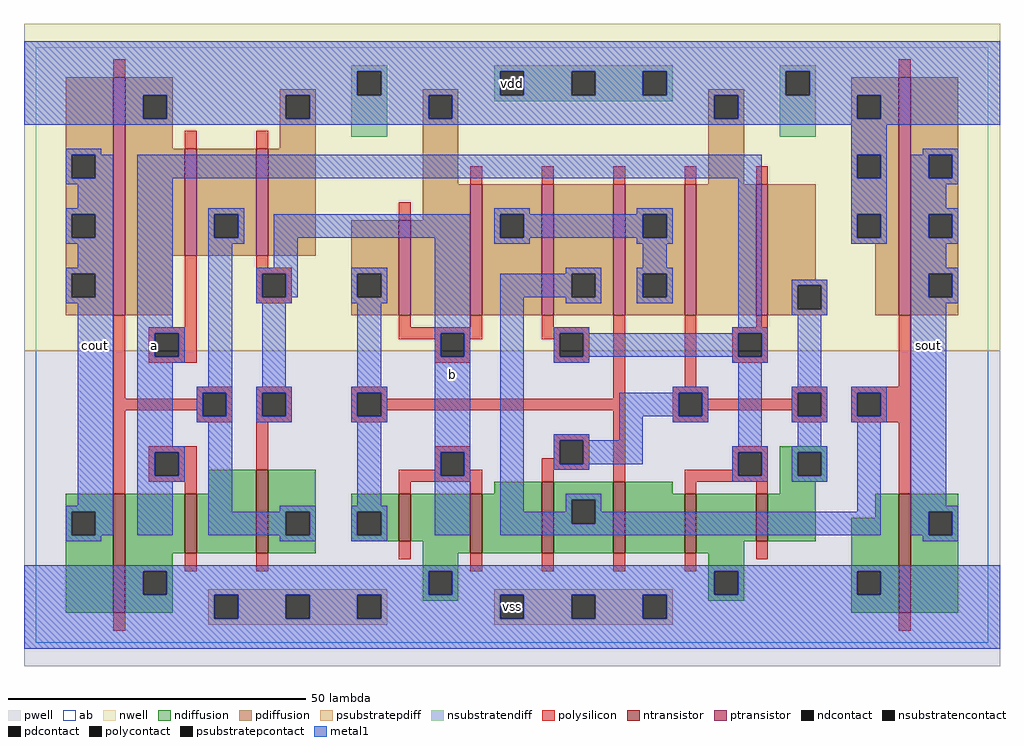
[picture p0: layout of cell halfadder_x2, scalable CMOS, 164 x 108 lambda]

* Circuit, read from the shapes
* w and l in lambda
.subckt halfadder_x2 a b cout sout vdd vss
M1 vss n1 cout vss nfet w=20 l=2
M2 n2 a vss vss nfet w=10 l=2
M3 n1 b n2 vss nfet w=14 l=2
M4 vss b n3 vss nfet w=8 l=2
M5 n4 b vss vss nfet w=10 l=2
M6 n5 n6 n4 vss nfet w=12 l=2
M7 n7 n3 n5 vss nfet w=12 l=2
M8 vss a n7 vss nfet w=10 l=2
M9 n6 a vss vss nfet w=8 l=2
M10 sout n5 vss vss nfet w=20 l=2
M11 vdd n1 cout vdd pfet w=40 l=2
M12 n1 a vdd vdd pfet w=18 l=2
M13 vdd b n1 vdd pfet w=18 l=2
M14 vdd b n3 vdd pfet w=16 l=2
M15 n8 b vdd vdd pfet w=22 l=2
M16 n5 a n8 vdd pfet w=22 l=2
M17 n8 n3 n5 vdd pfet w=22 l=2
M18 vdd n6 n8 vdd pfet w=22 l=2
M19 n6 a vdd vdd pfet w=22 l=2
M20 sout n5 vdd vdd pfet w=40 l=2
.ends

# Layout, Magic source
magic
tech scmos
<< ab >>
rect 0 0 160 100
<< pwell >>
rect -2 -4 162 49
<< nwell >>
rect -2 49 162 104
<< polysilicon >>
rect 13 95 15 98
rect 25 83 27 86
rect 37 83 39 86
rect 73 77 75 80
rect 85 77 87 80
rect 97 77 99 80
rect 109 77 111 80
rect 145 95 147 98
rect 121 77 123 80
rect 61 71 63 74
rect 13 41 15 55
rect 25 53 27 65
rect 37 63 39 65
rect 37 62 43 63
rect 37 58 38 62
rect 42 58 43 62
rect 37 57 43 58
rect 19 52 27 53
rect 19 48 20 52
rect 24 48 27 52
rect 61 53 63 55
rect 73 53 75 55
rect 61 52 75 53
rect 61 51 68 52
rect 19 47 27 48
rect 67 48 68 51
rect 72 51 75 52
rect 85 53 87 55
rect 85 52 93 53
rect 85 51 88 52
rect 72 48 73 51
rect 67 47 73 48
rect 87 48 88 51
rect 92 48 93 52
rect 87 47 93 48
rect 27 42 33 43
rect 27 41 28 42
rect 13 39 28 41
rect 13 25 15 39
rect 27 38 28 39
rect 32 38 33 42
rect 27 37 33 38
rect 37 42 43 43
rect 37 38 38 42
rect 42 38 43 42
rect 37 37 43 38
rect 53 42 59 43
rect 53 38 54 42
rect 58 41 59 42
rect 97 41 99 55
rect 109 43 111 55
rect 121 53 123 55
rect 117 52 123 53
rect 117 48 118 52
rect 122 48 123 52
rect 117 47 123 48
rect 145 43 147 55
rect 58 39 99 41
rect 58 38 59 39
rect 53 37 59 38
rect 19 32 27 33
rect 19 28 20 32
rect 24 28 27 32
rect 37 29 39 37
rect 87 34 93 35
rect 67 32 73 33
rect 67 29 68 32
rect 19 27 27 28
rect 25 25 27 27
rect 61 28 68 29
rect 72 29 73 32
rect 87 31 88 34
rect 85 30 88 31
rect 92 30 93 34
rect 85 29 93 30
rect 72 28 75 29
rect 61 27 75 28
rect 85 27 87 29
rect 97 27 99 39
rect 107 42 113 43
rect 107 38 108 42
rect 112 41 113 42
rect 127 42 133 43
rect 127 41 128 42
rect 112 39 128 41
rect 112 38 113 39
rect 107 37 113 38
rect 127 38 128 39
rect 132 38 133 42
rect 127 37 133 38
rect 137 42 147 43
rect 137 38 138 42
rect 142 38 147 42
rect 137 37 147 38
rect 117 32 123 33
rect 117 29 118 32
rect 109 28 118 29
rect 122 28 123 32
rect 109 27 123 28
rect 61 25 63 27
rect 73 25 75 27
rect 25 12 27 15
rect 37 12 39 15
rect 61 14 63 17
rect 109 25 111 27
rect 121 25 123 27
rect 145 25 147 37
rect 73 12 75 15
rect 85 12 87 15
rect 97 12 99 15
rect 109 12 111 15
rect 121 14 123 17
rect 13 2 15 5
rect 145 2 147 5
<< ndiffusion >>
rect 29 25 37 29
rect 5 22 13 25
rect 5 18 6 22
rect 10 18 13 22
rect 5 5 13 18
rect 15 15 25 25
rect 27 15 37 25
rect 39 22 47 29
rect 77 25 85 27
rect 39 18 42 22
rect 46 18 47 22
rect 39 15 47 18
rect 53 22 61 25
rect 53 18 54 22
rect 58 18 61 22
rect 53 17 61 18
rect 63 17 73 25
rect 15 12 23 15
rect 65 15 73 17
rect 75 15 85 25
rect 87 24 97 27
rect 87 20 90 24
rect 94 20 97 24
rect 87 15 97 20
rect 99 25 107 27
rect 125 32 133 33
rect 125 28 128 32
rect 132 28 133 32
rect 125 27 133 28
rect 125 25 131 27
rect 99 15 109 25
rect 111 17 121 25
rect 123 17 131 25
rect 141 21 145 25
rect 111 15 119 17
rect 65 12 71 15
rect 113 12 119 15
rect 15 8 18 12
rect 22 8 23 12
rect 15 5 23 8
rect 65 8 66 12
rect 70 8 71 12
rect 65 7 71 8
rect 113 8 114 12
rect 118 8 119 12
rect 113 7 119 8
rect 137 12 145 21
rect 137 8 138 12
rect 142 8 145 12
rect 137 5 145 8
rect 147 22 155 25
rect 147 18 150 22
rect 154 18 155 22
rect 147 5 155 18
<< pdiffusion >>
rect 5 82 13 95
rect 5 78 6 82
rect 10 78 13 82
rect 5 72 13 78
rect 5 68 6 72
rect 10 68 13 72
rect 5 62 13 68
rect 5 58 6 62
rect 10 58 13 62
rect 5 55 13 58
rect 15 92 23 95
rect 15 88 18 92
rect 22 88 23 92
rect 15 83 23 88
rect 41 92 47 93
rect 41 88 42 92
rect 46 88 47 92
rect 41 83 47 88
rect 65 92 71 93
rect 65 88 66 92
rect 70 88 71 92
rect 113 92 119 93
rect 15 65 25 83
rect 27 72 37 83
rect 27 68 30 72
rect 34 68 37 72
rect 27 65 37 68
rect 39 65 47 83
rect 65 77 71 88
rect 113 88 114 92
rect 118 88 119 92
rect 113 77 119 88
rect 137 92 145 95
rect 137 88 138 92
rect 142 88 145 92
rect 137 82 145 88
rect 137 78 138 82
rect 142 78 145 82
rect 65 71 73 77
rect 15 55 23 65
rect 53 62 61 71
rect 53 58 54 62
rect 58 58 61 62
rect 53 55 61 58
rect 63 55 73 71
rect 75 72 85 77
rect 75 68 78 72
rect 82 68 85 72
rect 75 55 85 68
rect 87 62 97 77
rect 87 58 90 62
rect 94 58 97 62
rect 87 55 97 58
rect 99 72 109 77
rect 99 68 102 72
rect 106 68 109 72
rect 99 62 109 68
rect 99 58 102 62
rect 106 58 109 62
rect 99 55 109 58
rect 111 55 121 77
rect 123 61 131 77
rect 137 72 145 78
rect 137 68 138 72
rect 142 68 145 72
rect 137 67 145 68
rect 123 60 133 61
rect 123 56 128 60
rect 132 56 133 60
rect 123 55 133 56
rect 141 55 145 67
rect 147 82 155 95
rect 147 78 150 82
rect 154 78 155 82
rect 147 72 155 78
rect 147 68 150 72
rect 154 68 155 72
rect 147 62 155 68
rect 147 58 150 62
rect 154 58 155 62
rect 147 55 155 58
<< metal1 >>
rect -2 96 162 101
rect -2 92 54 96
rect 58 92 78 96
rect 82 92 90 96
rect 94 92 102 96
rect 106 92 126 96
rect 130 92 162 96
rect -2 88 18 92
rect 22 88 42 92
rect 46 88 66 92
rect 70 88 114 92
rect 118 88 138 92
rect 142 88 162 92
rect -2 87 162 88
rect 5 82 11 83
rect 137 82 143 87
rect 149 82 155 83
rect 5 78 6 82
rect 10 78 13 82
rect 5 77 13 78
rect 7 73 13 77
rect 5 72 13 73
rect 5 68 6 72
rect 10 68 13 72
rect 5 67 13 68
rect 7 63 13 67
rect 5 62 13 63
rect 5 58 6 62
rect 10 58 13 62
rect 5 57 13 58
rect 7 23 13 57
rect 5 22 13 23
rect 5 18 6 22
rect 10 18 13 22
rect 17 78 122 82
rect 17 53 23 78
rect 29 72 35 73
rect 77 72 83 73
rect 101 72 107 73
rect 29 68 30 72
rect 34 68 35 72
rect 29 67 35 68
rect 40 68 73 72
rect 17 52 25 53
rect 17 48 20 52
rect 24 48 25 52
rect 17 47 25 48
rect 17 33 23 47
rect 29 43 33 67
rect 40 63 44 68
rect 37 62 44 63
rect 37 58 38 62
rect 42 58 44 62
rect 53 62 59 63
rect 53 58 54 62
rect 58 58 59 62
rect 37 57 43 58
rect 53 57 59 58
rect 38 43 42 57
rect 54 43 58 57
rect 67 52 73 68
rect 77 68 78 72
rect 82 68 102 72
rect 106 68 107 72
rect 77 67 83 68
rect 101 67 107 68
rect 102 63 106 67
rect 89 62 95 63
rect 67 48 68 52
rect 72 48 73 52
rect 27 42 33 43
rect 27 38 28 42
rect 32 38 33 42
rect 27 37 33 38
rect 37 42 43 43
rect 37 38 38 42
rect 42 38 43 42
rect 37 37 43 38
rect 53 42 59 43
rect 53 38 54 42
rect 58 38 59 42
rect 53 37 59 38
rect 17 32 25 33
rect 17 28 20 32
rect 24 28 25 32
rect 17 27 25 28
rect 17 18 23 27
rect 29 22 33 37
rect 54 23 58 37
rect 67 32 73 48
rect 67 28 68 32
rect 72 28 73 32
rect 41 22 47 23
rect 29 18 42 22
rect 46 18 47 22
rect 5 17 11 18
rect 41 17 47 18
rect 53 22 59 23
rect 53 18 54 22
rect 58 18 59 22
rect 67 18 73 28
rect 78 58 90 62
rect 94 58 95 62
rect 78 22 82 58
rect 89 57 95 58
rect 101 62 107 63
rect 101 58 102 62
rect 106 58 107 62
rect 101 57 107 58
rect 118 53 122 78
rect 137 78 138 82
rect 142 78 143 82
rect 137 72 143 78
rect 137 68 138 72
rect 142 68 143 72
rect 137 67 143 68
rect 147 78 150 82
rect 154 78 155 82
rect 147 77 155 78
rect 147 73 153 77
rect 147 72 155 73
rect 147 68 150 72
rect 154 68 155 72
rect 147 67 155 68
rect 147 63 153 67
rect 147 62 155 63
rect 127 60 133 61
rect 127 56 128 60
rect 132 56 133 60
rect 127 55 133 56
rect 147 58 150 62
rect 154 58 155 62
rect 147 57 155 58
rect 87 52 93 53
rect 117 52 123 53
rect 87 48 88 52
rect 92 48 118 52
rect 122 48 123 52
rect 87 47 93 48
rect 117 47 123 48
rect 107 42 113 43
rect 98 38 108 42
rect 112 38 113 42
rect 87 34 93 35
rect 98 34 102 38
rect 107 37 113 38
rect 87 30 88 34
rect 92 30 102 34
rect 118 33 122 47
rect 128 43 132 55
rect 127 42 133 43
rect 127 38 128 42
rect 132 38 133 42
rect 127 37 133 38
rect 137 42 143 43
rect 137 38 138 42
rect 142 38 143 42
rect 137 37 143 38
rect 128 33 132 37
rect 117 32 123 33
rect 87 29 93 30
rect 117 28 118 32
rect 122 28 123 32
rect 117 27 123 28
rect 127 32 133 33
rect 127 28 128 32
rect 132 28 133 32
rect 127 27 133 28
rect 89 24 95 25
rect 89 22 90 24
rect 78 20 90 22
rect 94 22 95 24
rect 138 22 142 37
rect 94 20 142 22
rect 78 18 142 20
rect 147 23 153 57
rect 147 22 155 23
rect 147 18 150 22
rect 154 18 155 22
rect 53 17 59 18
rect 149 17 155 18
rect -2 12 162 13
rect -2 8 18 12
rect 22 8 66 12
rect 70 8 114 12
rect 118 8 138 12
rect 142 8 162 12
rect -2 4 30 8
rect 34 4 42 8
rect 46 4 54 8
rect 58 4 78 8
rect 82 4 90 8
rect 94 4 102 8
rect 106 4 162 8
rect -2 -1 162 4
<< ntransistor >>
rect 13 5 15 25
rect 25 15 27 25
rect 37 15 39 29
rect 61 17 63 25
rect 73 15 75 25
rect 85 15 87 27
rect 97 15 99 27
rect 109 15 111 25
rect 121 17 123 25
rect 145 5 147 25
<< ptransistor >>
rect 13 55 15 95
rect 25 65 27 83
rect 37 65 39 83
rect 61 55 63 71
rect 73 55 75 77
rect 85 55 87 77
rect 97 55 99 77
rect 109 55 111 77
rect 121 55 123 77
rect 145 55 147 95
<< polycontact >>
rect 38 58 42 62
rect 20 48 24 52
rect 68 48 72 52
rect 88 48 92 52
rect 28 38 32 42
rect 38 38 42 42
rect 54 38 58 42
rect 118 48 122 52
rect 20 28 24 32
rect 68 28 72 32
rect 88 30 92 34
rect 108 38 112 42
rect 128 38 132 42
rect 138 38 142 42
rect 118 28 122 32
<< ndcontact >>
rect 6 18 10 22
rect 42 18 46 22
rect 54 18 58 22
rect 90 20 94 24
rect 128 28 132 32
rect 18 8 22 12
rect 66 8 70 12
rect 114 8 118 12
rect 138 8 142 12
rect 150 18 154 22
<< pdcontact >>
rect 6 78 10 82
rect 6 68 10 72
rect 6 58 10 62
rect 18 88 22 92
rect 42 88 46 92
rect 66 88 70 92
rect 30 68 34 72
rect 114 88 118 92
rect 138 88 142 92
rect 138 78 142 82
rect 54 58 58 62
rect 78 68 82 72
rect 90 58 94 62
rect 102 68 106 72
rect 102 58 106 62
rect 138 68 142 72
rect 128 56 132 60
rect 150 78 154 82
rect 150 68 154 72
rect 150 58 154 62
<< psubstratepcontact >>
rect 30 4 34 8
rect 42 4 46 8
rect 54 4 58 8
rect 78 4 82 8
rect 90 4 94 8
rect 102 4 106 8
<< nsubstratencontact >>
rect 54 92 58 96
rect 78 92 82 96
rect 90 92 94 96
rect 102 92 106 96
rect 126 92 130 96
<< psubstratepdiff >>
rect 29 8 59 9
rect 29 4 30 8
rect 34 4 42 8
rect 46 4 54 8
rect 58 4 59 8
rect 77 8 107 9
rect 29 3 59 4
rect 77 4 78 8
rect 82 4 90 8
rect 94 4 102 8
rect 106 4 107 8
rect 77 3 107 4
<< nsubstratendiff >>
rect 53 96 59 97
rect 53 92 54 96
rect 58 92 59 96
rect 77 96 107 97
rect 53 85 59 92
rect 77 92 78 96
rect 82 92 90 96
rect 94 92 102 96
rect 106 92 107 96
rect 125 96 131 97
rect 77 91 107 92
rect 125 92 126 96
rect 130 92 131 96
rect 125 85 131 92
<< labels >>
rlabel metal1 20 50 20 50 6 a
rlabel metal1 10 50 10 50 6 cout
rlabel metal1 20 50 20 50 6 a
rlabel metal1 10 50 10 50 6 cout
rlabel psubstratepcontact 80 6 80 6 6 vss
rlabel psubstratepcontact 80 6 80 6 6 vss
rlabel metal1 70 45 70 45 6 b
rlabel metal1 70 45 70 45 6 b
rlabel nsubstratencontact 80 94 80 94 6 vdd
rlabel nsubstratencontact 80 94 80 94 6 vdd
rlabel metal1 150 50 150 50 6 sout
rlabel metal1 150 50 150 50 6 sout
<< end >>
